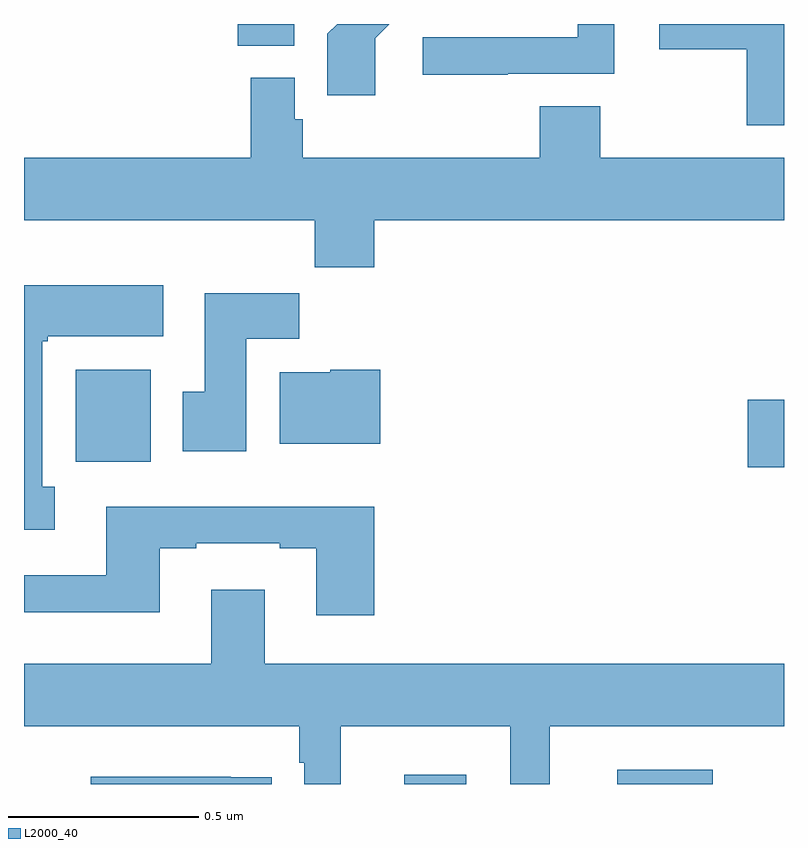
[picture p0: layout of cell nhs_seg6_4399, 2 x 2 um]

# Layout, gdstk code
import gdstk
lib = gdstk.Library(unit=1e-6, precision=1e-09)
def R(c, l, rs):  # rectangles x0, y0, x1, y1
    for r in rs: c.add(gdstk.rectangle(r[:2], r[2:], *l))
def P(c, l, *ps):  # polygons
    for p in ps: c.add(gdstk.Polygon(p, *l))
L2000_40 = (2000, 40)

nhs_seg6_4399 = lib.new_cell('nhs_seg6_4399')
R(nhs_seg6_4399, L2000_40, [(170,964.5,170.164,964.525), (170.561,964.5,170.812,964.537), (170.904,965.333,171,965.511), (169.136,965.348,169.333,965.59), (169.562,966.443,169.711,966.5)])
P(nhs_seg6_4399, L2000_40, [(171,966.5),(170.672,966.5),(170.672,966.434),(170.902,966.434),(170.902,966.234),(171,966.234)],
  [(170.273,966.369),(170.553,966.369),(170.553,966.5),(170.457,966.5),(170.457,966.465),(170.049,966.465),(170.049,966.367),(170.273,966.367)],
  [(169.924,966.463),(169.961,966.5),(169.824,966.5),(169.798,966.474),(169.798,966.312),(169.924,966.312)],
  [(169.922,965.984),(171,965.984),(171,966.148),(170.517,966.148),(170.517,966.284),(170.357,966.284),(170.357,966.148),(169.733,966.148),(169.733,966.249),(169.713,966.249),(169.713,966.358),(169.597,966.358),(169.597,966.148),(169,966.148),(169,965.984),(169.765,965.984),(169.765,965.86),(169.922,965.86)],
  [(169.081,965.282),(169.048,965.282),(169.048,965.665),(169.062,965.665),(169.062,965.678),(169.366,965.678),(169.366,965.812),(169,965.812),(169,965.169),(169.081,965.169)],
  [(169.585,965.672),(169.724,965.672),(169.724,965.791),(169.475,965.791),(169.475,965.532),(169.418,965.532),(169.418,965.376),(169.585,965.376)],
  [(169.937,965.59),(169.806,965.59),(169.806,965.584),(169.673,965.584),(169.673,965.396),(169.937,965.396)],
  [(169.922,965.23),(169.217,965.23),(169.217,965.049),(169,965.049),(169,964.952),(169.357,964.952),(169.357,965.121),(169.453,965.121),(169.453,965.133),(169.673,965.133),(169.673,965.121),(169.769,965.121),(169.769,964.944),(169.922,964.944)],
  [(169.834,964.652),(170.279,964.652),(170.279,964.5),(170.383,964.5),(170.383,964.652),(171,964.652),(171,964.816),(169.633,964.816),(169.633,965.011),(169.493,965.011),(169.493,964.816),(169,964.816),(169,964.652),(169.724,964.652),(169.724,964.556),(169.737,964.556),(169.737,964.5),(169.834,964.5)],
  [(169.652,964.518),(169.544,964.518),(169.544,964.519),(169.176,964.519),(169.176,964.5),(169.652,964.5)])

lib.write_gds('nhs_seg6_4399.gds')
